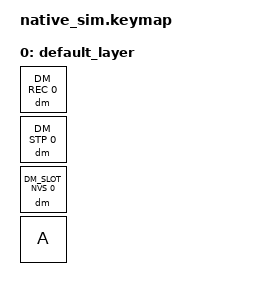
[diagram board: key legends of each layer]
/*
 * Copyright (c) 2026 The ZMK Contributors
 * SPDX-License-Identifier: MIT
 *
 * Test: Record a key sequence and play it back from NVS slot.
 *
 * Sequence:
 * 1. Press REC to start recording
 * 2. Press A
 * 3. Press STP to stop recording (also assigns to slot 0)
 * 4. Press slot 0 to playback
 *
 * Expected: Playback emits A key events
 */

#include "../behavior_keymap.dtsi"

/ {
    keymap {
        compatible = "zmk,keymap";
        default_layer {
            bindings = <
                &dm DM_REC 0        /* 0,0: start recording */
                &dm DM_STP 0        /* 0,1: stop recording */
                &dm DM_SLOT_NVS 0   /* 1,0: NVS slot 0 (assign/play) */
                &kp A               /* 1,1: key A */
            >;
        };
    };
};

&kscan {
    events = <
        /* Start recording */
        ZMK_MOCK_PRESS(0,0,10)
        ZMK_MOCK_RELEASE(0,0,10)

        /* Record: A */
        ZMK_MOCK_PRESS(1,1,10)
        ZMK_MOCK_RELEASE(1,1,10)

        /* Stop recording */
        ZMK_MOCK_PRESS(0,1,10)
        ZMK_MOCK_RELEASE(0,1,10)

        /* Assign to slot 0 */
        ZMK_MOCK_PRESS(1,0,10)
        ZMK_MOCK_RELEASE(1,0,10)

        /* Playback */
        ZMK_MOCK_PRESS(1,0,2000)
        ZMK_MOCK_RELEASE(1,0,10)
    >;
};
